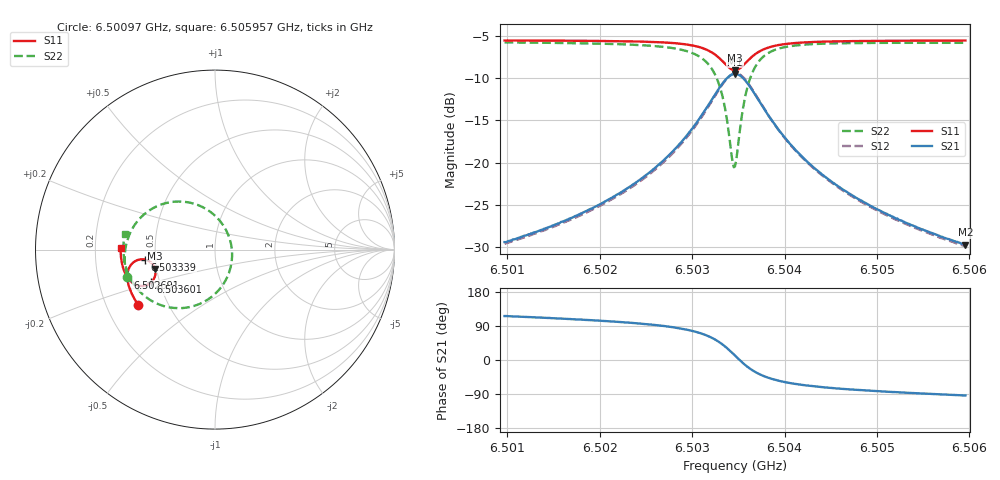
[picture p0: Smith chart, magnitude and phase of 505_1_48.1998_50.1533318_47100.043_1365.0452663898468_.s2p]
#  HZ  S  RI  R  50.00
! Rohde & Schwarz Vector Network Analyzer
! Rohde-Schwarz,ZNB20-2Port,1311601062101988,3.16
! Created: UTC 3/20/2024, 11:58:43 AM
! freq[Hz]  re:S11  im:S11  re:S21  im:S21  re:S12  im:S12  re:S22  im:S22
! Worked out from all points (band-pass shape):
!   401 points, 6.50097 GHz to 6.505957 GHz, reference 50 ohm
!   highest |S21| = -9.52 dB at 6.503464 GHz (marker M1); lowest = -29.7 dB at 6.505957 GHz (marker M2)
!   |S21| within 3 dB of the highest: 6.503215 GHz to 6.503714 GHz (498.7 kHz wide, 0.00767 % of centre)
!   lowest |S11| = -9.1 dB at 6.503464 GHz (marker M3), VSWR 2.08, Z = 24.4 - j5.9 ohm
!   |S11| at or under -10 dB: nowhere
!   |S22| runs from -20.5 to -5.8 dB; largest |S21 - S12| = 0.011
!   S11 on the Smith chart (normalised r, x): 6.50097 GHz: 0.34, -0.29; 6.502691 GHz: 0.33, -0.14; 6.503339 GHz: 0.44, -0.06; 6.503601 GHz: 0.45, -0.19; 6.505957 GHz: 0.31, +0.01
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6.5009704e9  -0.4269 -0.3093  -0.0149 0.0304  -0.0132 0.0304  -0.49 -0.1535
6.5018057e9  -0.4629 -0.2474  -0.0143 0.0482  -0.0119 0.0477  -0.5028 -0.0645
6.5022296e9  -0.4778 -0.2099  -0.0116 0.0657  -0.00882 0.0647  -0.5005 -0.00488
6.502641e9  -0.4878 -0.1647  -0.00217 0.0975  0.00142 0.0953  -0.4799 0.0766
6.5026909e9  -0.4883 -0.1581  0.000335 0.1031  0.00383 0.1007  -0.4746 0.0893
6.5029527e9  -0.484 -0.1167  0.0268 0.1445  0.0303 0.1402  -0.4199 0.1723
6.5031398e9  -0.4624 -0.0784  0.0814 0.187  0.0835 0.1812  -0.3152 0.2452
6.503252e9  -0.4294 -0.0576  0.1514 0.2046  0.1518 0.1988  -0.1894 0.2677
6.5033392e9  -0.3883 -0.056  0.2319 0.1883  0.232 0.184  -0.0506 0.2267
6.5034265e9  -0.3458 -0.0843  0.3097 0.1151  0.3121 0.1114  0.0735 0.083
6.5034514e9  -0.3378 -0.0983  0.3231 0.0837  0.3263 0.0793  0.0907 0.0242
6.5034639e9  -0.335 -0.1058  0.3274 0.0671  0.3309 0.0622  0.0948 -0.00704
6.5034889e9  -0.3318 -0.1219  0.331 0.0329  0.3351 0.0268  0.0927 -0.0694
6.5035263e9  -0.3337 -0.1456  0.3241 -0.0167  0.3278 -0.025  0.0663 -0.1572
6.5036011e9  -0.3557 -0.1822  0.2783 -0.0926  0.2786 -0.1034  -0.0416 -0.2794
6.5037133e9  -0.4006 -0.2023  0.1927 -0.1379  0.1877 -0.1471  -0.2152 -0.3259
6.5038753e9  -0.4475 -0.1928  0.1097 -0.1342  0.1029 -0.1393  -0.3647 -0.2785
6.5040499e9  -0.4753 -0.1714  0.0646 -0.1137  0.0585 -0.116  -0.4376 -0.2128
6.5042993e9  -0.4963 -0.1415  0.0343 -0.0889  0.0297 -0.0895  -0.4813 -0.1398
6.5046733e9  -0.5118 -0.1021  0.0151 -0.0655  0.0117 -0.065  -0.5041 -0.0646
6.5051346e9  -0.5213 -0.0592  0.00518 -0.0486  0.00299 -0.0479  -0.5103 0.000931
6.5059575e9  -0.5265 0.0107  -0.00209 -0.0326  -0.00334 -0.0319  -0.5026 0.0885
